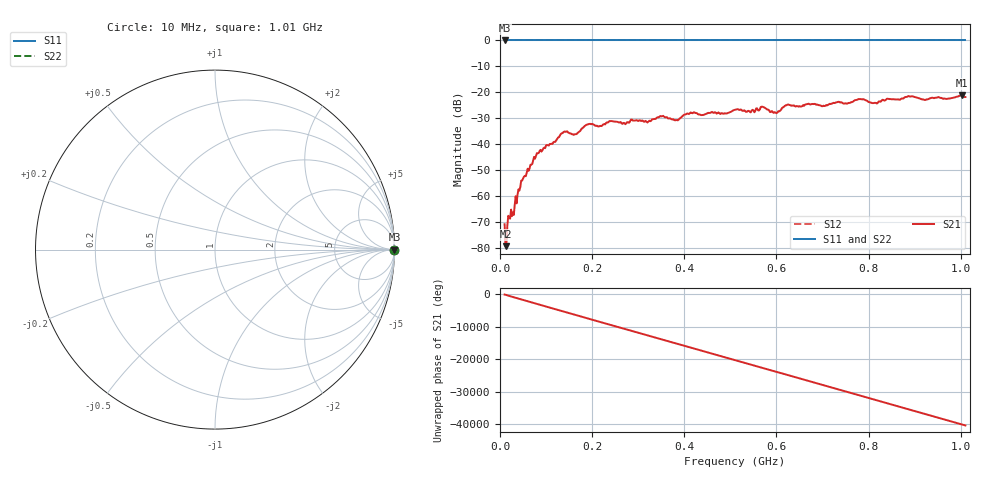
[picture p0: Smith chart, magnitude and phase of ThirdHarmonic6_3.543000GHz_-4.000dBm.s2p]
! 8/17/2025 11:40:24 AM
! C:\ANRITSUVNA\TEMP\TEMP.S2P
! CHANNEL.1
! TR.MEASUREMENT
! RAW.DATA
! RF.CORRECTION.OFF
! AVERAGING.OFF
! IF.BANDWIDTH: 5KHZ
! SWEEPTYPE:  FREQ.SWEEP(Linear)
! Reference Plane Port Info
! PORT:  PORT1  PORT2
! DISTANCE:  0  m  0  m
! TIME:  0  s  0  s
! PHASE.OFFSET:  0  deg.  0  deg.
! LOSS:  0  dB  0  dB
! REF.LOSS:  0  dB  0  dB
! REF.FREQ:  0  Hz  0  Hz
! Power Info
! POWER:  -20  dBm  -20  dBm
! EFF.POWER:  -20  dBm  -20  dBm
! SOURCE.ATTEN:  0  dB  0  dB
! TEST.ATTEN:  0  dB  0  dB
# GHZ S RI R 50.0
! FREQ.GHZ  S11RE  S11IM  S21RE  S21IM  S12RE  S12IM  S22RE  S22IM
!; PortSelection: Port_12
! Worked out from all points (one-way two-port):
!   501 points, 10 MHz to 1.01 GHz, reference 50 ohm
!   highest |S21| = -21.11 dB at 1.002 GHz (marker M1); lowest = -79.1 dB at 12 MHz (marker M2)
!   lowest |S11| = 0.0 dB at 10 MHz (marker M3)
!   |S11| at or under -10 dB: nowhere
!   |S22| runs from 0.0 to 0.0 dB; largest |S21 - S12| = 1.1
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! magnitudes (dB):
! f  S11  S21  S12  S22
! 10 MHz  0.0  -70.7  0.0  0.0
! 12 MHz  0.0  -79.1  0.0  0.0
! 16 MHz  0.0  -71.0  0.0  0.0
! 20 MHz  0.0  -68.1  0.0  0.0
! 26 MHz  0.0  -67.5  0.0  0.0
! 48 MHz  0.0  -53.9  0.0  0.0
! 78 MHz  0.0  -44.5  0.0  0.0
! 136 MHz  0.0  -35.7  0.0  0.0
! 162 MHz  0.0  -36.1  0.0  0.0
! 178 MHz  0.0  -33.8  0.0  0.0
! 192 MHz  0.0  -32.2  0.0  0.0
! 344 MHz  0.0  -29.6  0.0  0.0
! 382 MHz  0.0  -30.6  0.0  0.0
! 418 MHz  0.0  -28.0  0.0  0.0
! 510 MHz  0.0  -26.7  0.0  0.0
! 570 MHz  0.0  -25.5  0.0  0.0
! 598 MHz  0.0  -27.8  0.0  0.0
! 622 MHz  0.0  -24.9  0.0  0.0
! 678 MHz  0.0  -24.4  0.0  0.0
! 844 MHz  0.0  -22.5  0.0  0.0
! 1.002 GHz  0.0  -21.1  0.0  0.0
! 1.01 GHz  0.0  -21.8  0.0  0.0
